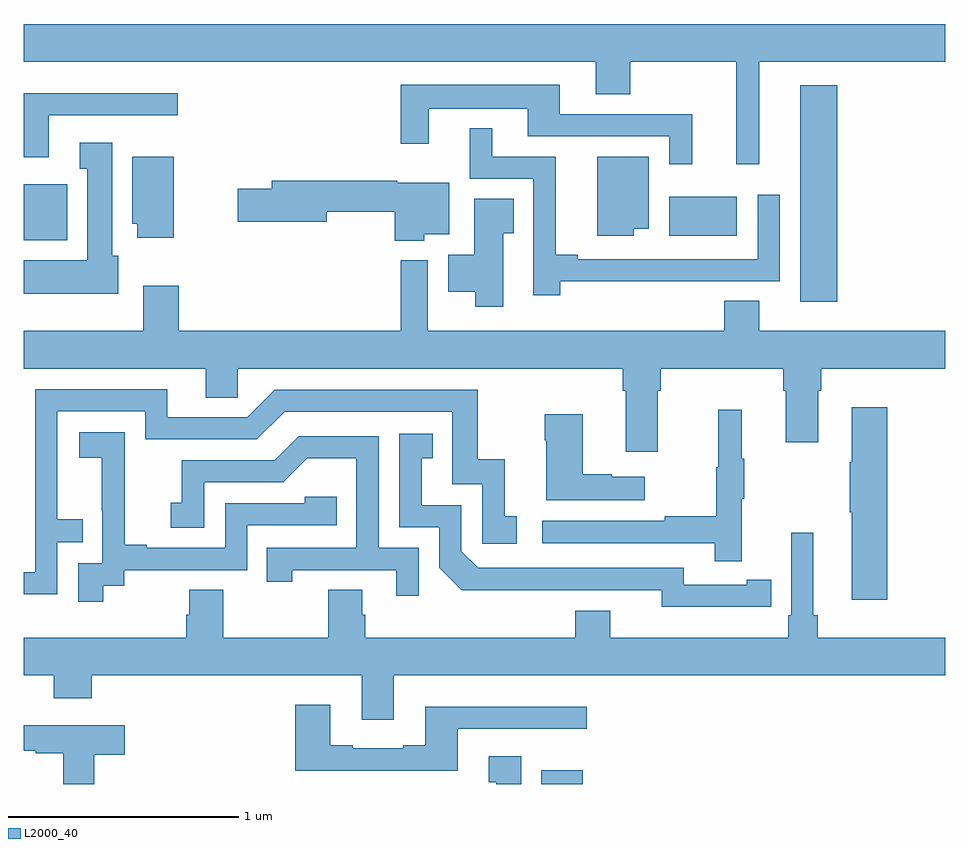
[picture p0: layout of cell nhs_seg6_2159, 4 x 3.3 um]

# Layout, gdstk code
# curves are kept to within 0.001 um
import gdstk
lib = gdstk.Library(unit=1e-6, precision=1e-09)
def R(c, l, rs):  # rectangles x0, y0, x1, y1
    for r in rs: c.add(gdstk.rectangle(r[:2], r[2:], *l))
def P(c, l, *ps):  # polygons
    for p in ps: c.add(gdstk.Polygon(p, *l))
L2000_40 = (2000, 40)

nhs_seg6_2159 = lib.new_cell('nhs_seg6_2159')
R(nhs_seg6_2159, L2000_40, [(241.247,977.5,241.426,977.56), (242.372,979.593,242.531,980.533), (239,979.862,239.188,980.104), (241.802,979.88,242.095,980.05)])
P(nhs_seg6_2159, L2000_40, [(242.192,980.636),(243,980.636),(243,980.8),(239,980.8),(239,980.636),(241.484,980.636),(241.484,980.494),(241.632,980.494),(241.632,980.636),(242.093,980.636),(242.093,980.19),(242.192,980.19)],
  [(241.901,980.409),(241.327,980.409),(241.327,980.536),(240.636,980.536),(240.636,980.28),(240.757,980.28),(240.757,980.432),(241.187,980.432),(241.187,980.313),(241.803,980.313),(241.803,980.19),(241.901,980.19)],
  [(239.107,980.403),(239.668,980.403),(239.668,980.5),(239,980.5),(239,980.222),(239.107,980.222)],
  [(241.328,979.682),(241.958,979.682),(241.958,979.683),(242.283,979.683),(242.283,980.059),(242.187,980.059),(242.187,979.779),(241.405,979.779),(241.405,979.799),(241.31,979.799),(241.31,980.223),(241.033,980.223),(241.033,980.347),(240.935,980.347),(240.935,980.127),(241.212,980.127),(241.212,979.623),(241.328,979.623)],
  [(239.41,979.794),(239.383,979.794),(239.383,980.284),(239.243,980.284),(239.243,980.171),(239.276,980.171),(239.276,979.774),(239,979.774),(239,979.628),(239.41,979.628)],
  [(239.65,980.224),(239.471,980.224),(239.471,979.932),(239.492,979.932),(239.492,979.872),(239.65,979.872)],
  [(241.648,979.91),(241.714,979.91),(241.714,980.224),(241.49,980.224),(241.49,979.88),(241.648,979.88)],
  [(240.738,979.886),(240.847,979.886),(240.847,980.11),(240.621,980.11),(240.621,980.12),(240.077,980.12),(240.077,980.084),(239.928,980.084),(239.928,979.942),(240.316,979.942),(240.316,979.984),(240.61,979.984),(240.61,979.859),(240.738,979.859)],
  [(241.081,979.891),(241.127,979.891),(241.127,980.042),(240.956,980.042),(240.956,979.798),(240.842,979.798),(240.842,979.637),(240.959,979.637),(240.959,979.572),(241.081,979.572)],
  [(241.753,979.208),(241.766,979.208),(241.766,979.304),(242.297,979.304),(242.297,979.208),(242.309,979.208),(242.309,978.984),(242.449,978.984),(242.449,979.208),(242.462,979.208),(242.462,979.304),(243,979.304),(243,979.468),(242.194,979.468),(242.194,979.598),(242.042,979.598),(242.042,979.468),(240.753,979.468),(240.753,979.774),(240.637,979.774),(240.637,979.468),(239.672,979.468),(239.672,979.663),(239.519,979.663),(239.519,979.468),(239,979.468),(239,979.304),(239.789,979.304),(239.789,979.177),(239.928,979.177),(239.928,979.304),(241.601,979.304),(241.601,979.208),(241.613,979.208),(241.613,978.942),(241.753,978.942)],
  [(239.145,978.549),(239.255,978.549),(239.255,978.65),(239.145,978.65),(239.145,979.119),(239.526,979.119),(239.526,978.996),(240.012,978.996),(240.132,979.116),(240.861,979.116),(240.861,978.801),(240.99,978.801),(240.99,978.543),(241.141,978.543),(241.141,978.663),(241.088,978.663),(241.088,978.91),(240.97,978.91),(240.97,979.212),(240.09,979.212),(239.97,979.092),(239.623,979.092),(239.623,979.215),(239.049,979.215),(239.049,978.42),(239,978.42),(239,978.324),(239.145,978.324)],
  [(242.748,979.135),(242.594,979.135),(242.594,978.896),(242.587,978.896),(242.587,978.679),(242.594,978.679),(242.594,978.3),(242.748,978.3)],
  [(242.117,978.739),(242.128,978.739),(242.128,978.913),(242.117,978.913),(242.117,979.126),(242.014,979.126),(242.014,978.876),(242.007,978.876),(242.007,978.662),(241.783,978.662),(241.783,978.642),(241.251,978.642),(241.251,978.546),(241.999,978.546),(241.999,978.468),(242.117,978.468)],
  [(241.696,978.835),(241.553,978.835),(241.553,978.845),(241.426,978.845),(241.426,979.105),(241.261,979.105),(241.261,978.992),(241.268,978.992),(241.268,978.731),(241.696,978.731)],
  [(239.344,978.361),(239.436,978.361),(239.436,978.429),(239.97,978.429),(239.97,978.624),(240.359,978.624),(240.359,978.747),(240.219,978.747),(240.219,978.72),(239.874,978.72),(239.874,978.525),(239.533,978.525),(239.533,978.538),(239.438,978.538),(239.438,978.821),(239.439,978.821),(239.439,979.027),(239.241,979.027),(239.241,978.917),(239.339,978.917),(239.339,978.689),(239.34,978.689),(239.34,978.459),(239.235,978.459),(239.235,978.291),(239.344,978.291)],
  [(242.138,978.27),(242.246,978.27),(242.246,978.386),(242.138,978.386),(242.138,978.366),(241.866,978.366),(241.866,978.438),(240.972,978.438),(240.9,978.51),(240.9,978.711),(240.727,978.711),(240.727,978.915),(240.776,978.915),(240.776,979.021),(240.63,979.021),(240.63,978.615),(240.804,978.615),(240.804,978.438),(240.902,978.341),(241.77,978.342),(241.77,978.269)],
  [(240.714,978.525),(240.54,978.525),(240.54,979.011),(240.194,979.011),(240.089,978.906),(239.686,978.906),(239.686,978.721),(239.637,978.721),(239.637,978.612),(239.784,978.612),(239.784,978.81),(240.126,978.81),(240.23,978.914),(240.444,978.914),(240.444,978.525),(240.055,978.525),(240.055,978.378),(240.166,978.378),(240.166,978.429),(240.617,978.429),(240.617,978.318),(240.714,978.318)],
  [(240.467,977.778),(240.607,977.778),(240.607,977.972),(243,977.972),(243,978.136),(242.447,978.136),(242.447,978.232),(242.428,978.232),(242.428,978.592),(242.331,978.592),(242.331,978.232),(242.318,978.232),(242.318,978.136),(241.546,978.136),(241.546,978.253),(241.394,978.253),(241.394,978.136),(240.482,978.136),(240.482,978.234),(240.469,978.234),(240.469,978.344),(240.322,978.344),(240.322,978.136),(239.865,978.136),(239.865,978.344),(239.717,978.344),(239.717,978.234),(239.705,978.234),(239.705,978.136),(239,978.136),(239,977.972),(239.129,977.972),(239.129,977.873),(239.294,977.873),(239.294,977.972),(240.467,977.972)],
  [(240.883,977.739),(241.444,977.739),(241.444,977.836),(240.743,977.836),(240.743,977.668),(240.647,977.668),(240.647,977.655),(240.427,977.655),(240.427,977.668),(240.331,977.668),(240.331,977.845),(240.179,977.845),(240.179,977.558),(240.883,977.558)],
  [(239.306,977.626),(239.437,977.626),(239.437,977.755),(239,977.755),(239,977.644),(239.052,977.644),(239.052,977.633),(239.171,977.633),(239.171,977.5),(239.306,977.5)],
  [(241.159,977.62),(241.019,977.62),(241.019,977.507),(241.052,977.507),(241.052,977.5),(241.159,977.5)])

lib.write_gds('nhs_seg6_2159.gds')
